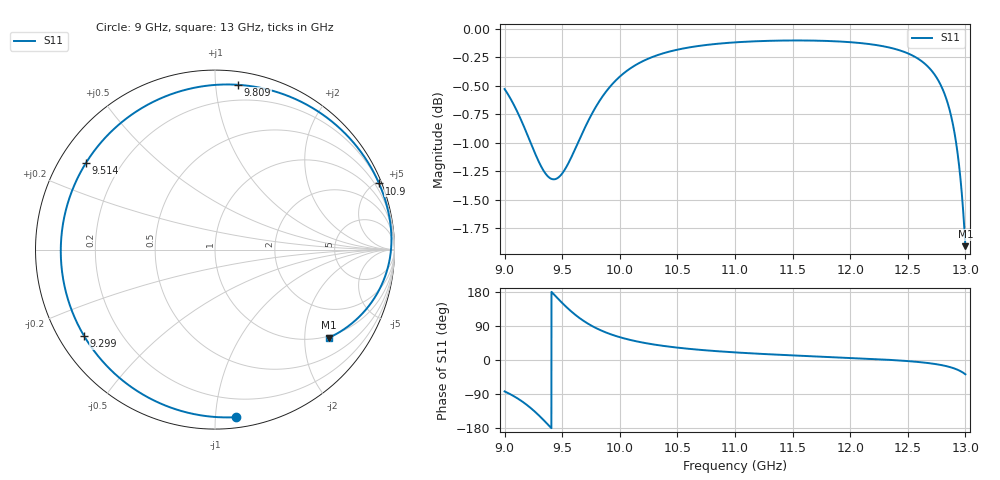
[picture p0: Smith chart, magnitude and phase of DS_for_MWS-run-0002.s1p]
! TOUCHSTONE file generated by CST DESIGN STUDIO
! Date and time: Tue Feb  4 14:11:40 2025
! Project name: C:\Work\MatlabApps\UnitCellOptimizationMatlab\CST\unitcell.cst
! Tree item: Tasks\Sweep1\SPara1\S-Parameters
! Header version: 2024
! Port assignment regex: !\s*Touchstone port\s*([0-9]+)\s*=\s*(CST MWS port|CST DES external port|CST DES block port)\s*(.+)\s* \(\"(.*)\"\)(\s*mode\s*([0-9]+))?.*
! Touchstone port assignment:
! Touchstone port 1 = CST DES external port 1 ("")
# GHz S MA R 50
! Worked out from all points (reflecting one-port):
!   4001 points, 9 GHz to 13 GHz, reference 50 ohm
!   lowest |S11| = -1.9 dB at 13 GHz (marker M1), VSWR 9.14, Z = 47.5 - j131 ohm
!   phase of S11 starts at -83 deg and turns -315 deg over the sweep
!   S11 on the Smith chart (normalised r, x): 9 GHz: 0.07, -1.13; 9.299 GHz: 0.07, -0.30; 9.514 GHz: 0.08, +0.30; 9.809 GHz: 0.09, +1.15; 10.9 GHz: 0.20, +5.14; 13 GHz: 0.95, -2.62
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9  0.9409 -82.9
9.089  0.9242 -97.0
9.164  0.9068 -111.9
9.232  0.8897 -128.1
9.299  0.8738 -146.6
9.351  0.8644 -162.4
9.4  0.8596 -177.9
9.449  0.8594 166.4
9.5  0.864 150.5
9.514  0.866 146.3
9.58  0.8784 127.8
9.648  0.8938 111.3
9.722  0.9103 96.2
9.809  0.9271 82.0
9.901  0.9413 70.1
10  0.9528 60.2
10.101  0.9615 52.2
10.216  0.9687 45.0
10.5  0.9791 32.6
10.904  0.9855 22.0
11  0.9863 20.1
11.5  0.9882 12.2
12  0.9865 5.5
12.5  0.9755 -2.9
12.691  0.9606 -8.6
12.835  0.9314 -16.2
12.924  0.888 -24.7
13  0.8028 -37.7
